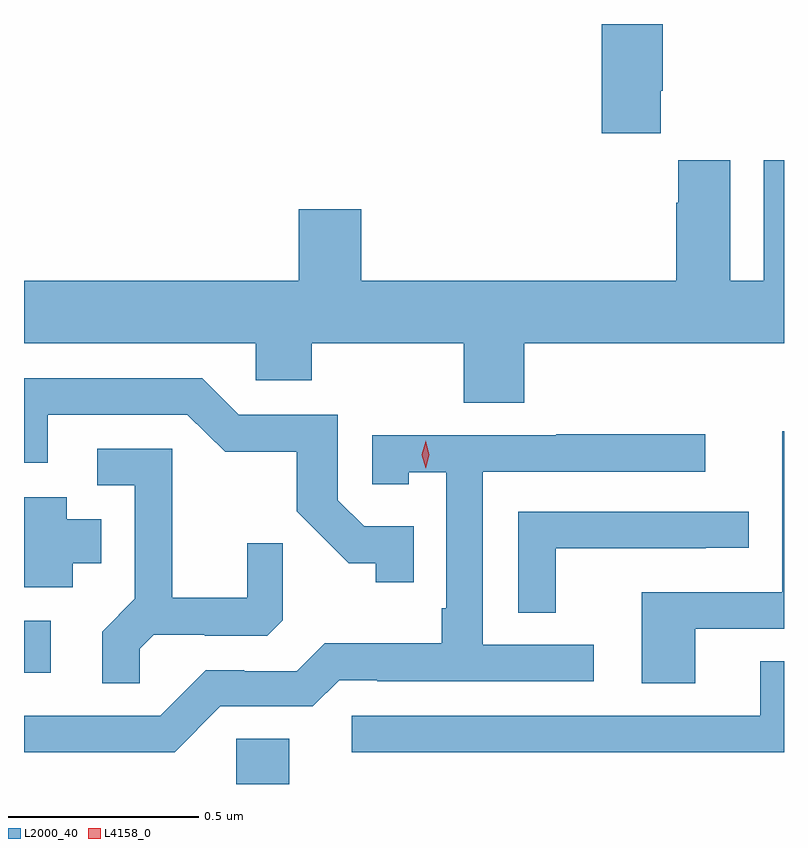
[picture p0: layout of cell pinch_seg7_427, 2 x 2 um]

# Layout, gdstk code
import gdstk
lib = gdstk.Library(unit=1e-6, precision=1e-09)
def R(c, l, rs):  # rectangles x0, y0, x1, y1
    for r in rs: c.add(gdstk.rectangle(r[:2], r[2:], *l))
def P(c, l, *ps):  # polygons
    for p in ps: c.add(gdstk.Polygon(p, *l))
L2000_40 = (2000, 40)
L4158_0 = (4158, 0)

pinch_seg7_427 = lib.new_cell('pinch_seg7_427')
R(pinch_seg7_427, L2000_40, [(536.472,1020.768,536.611,1020.887), (535.913,1021.061,535.984,1021.197)])
P(pinch_seg7_427, L2000_40, [(537.589,1022.593),(537.594,1022.593),(537.594,1022.768),(537.434,1022.768),(537.434,1022.481),(537.589,1022.481)],
  [(537.23,1021.928),(537.913,1021.928),(537.913,1022.41),(537.86,1022.41),(537.86,1022.092),(537.772,1022.092),(537.772,1022.41),(537.635,1022.41),(537.635,1022.297),(537.629,1022.297),(537.629,1022.092),(536.8,1022.092),(536.8,1022.281),(536.636,1022.281),(536.636,1022.092),(535.913,1022.092),(535.913,1021.928),(536.523,1021.928),(536.523,1021.83),(536.67,1021.83),(536.67,1021.928),(537.07,1021.928),(537.07,1021.771),(537.23,1021.771)],
  [(536.939,1021.446),(536.808,1021.446),(536.739,1021.515),(536.739,1021.74),(536.478,1021.74),(536.382,1021.836),(535.913,1021.836),(535.913,1021.614),(535.975,1021.614),(535.975,1021.74),(536.343,1021.74),(536.442,1021.642),(536.631,1021.642),(536.631,1021.486),(536.768,1021.349),(536.838,1021.349),(536.838,1021.299),(536.939,1021.299)],
  [(537.679,1021.176),(537.913,1021.176),(537.913,1021.696),(537.909,1021.696),(537.909,1021.272),(537.539,1021.272),(537.539,1021.033),(537.679,1021.033)],
  [(536.43,1020.972),(536.673,1020.972),(536.742,1021.041),(536.842,1021.041),(536.842,1021.038),(537.412,1021.038),(537.412,1021.134),(537.12,1021.134),(537.12,1021.59),(537.706,1021.59),(537.706,1021.689),(537.313,1021.689),(537.313,1021.686),(536.829,1021.686),(536.829,1021.557),(536.925,1021.557),(536.925,1021.589),(537.024,1021.589),(537.024,1021.231),(537.012,1021.231),(537.012,1021.138),(536.704,1021.138),(536.631,1021.065),(536.492,1021.065),(536.492,1021.068),(536.391,1021.068),(536.271,1020.948),(535.913,1020.948),(535.913,1020.852),(536.31,1020.852)],
  [(536.217,1021.124),(536.254,1021.161),(536.388,1021.161),(536.388,1021.158),(536.553,1021.158),(536.594,1021.199),(536.594,1021.401),(536.5,1021.401),(536.5,1021.258),(536.303,1021.258),(536.303,1021.65),(536.106,1021.65),(536.106,1021.554),(536.205,1021.554),(536.205,1021.255),(536.119,1021.169),(536.119,1021.033),(536.217,1021.033)],
  [(536.041,1021.349),(536.116,1021.349),(536.116,1021.465),(536.026,1021.465),(536.026,1021.522),(535.913,1021.522),(535.913,1021.286),(536.041,1021.286)],
  [(537.312,1021.389),(537.707,1021.389),(537.707,1021.39),(537.82,1021.39),(537.82,1021.485),(537.213,1021.485),(537.213,1021.219),(537.312,1021.219)],
  [(537.913,1021.091),(537.851,1021.091),(537.851,1020.948),(536.775,1020.948),(536.775,1020.852),(537.913,1020.852)])
P(pinch_seg7_427, L4158_0, [(536.97,1021.599),(536.97,1021.599),(536.96,1021.635),(536.97,1021.67),(536.97,1021.671),(536.97,1021.67),(536.98,1021.635),(536.97,1021.599)])

lib.write_gds('pinch_seg7_427.gds')
